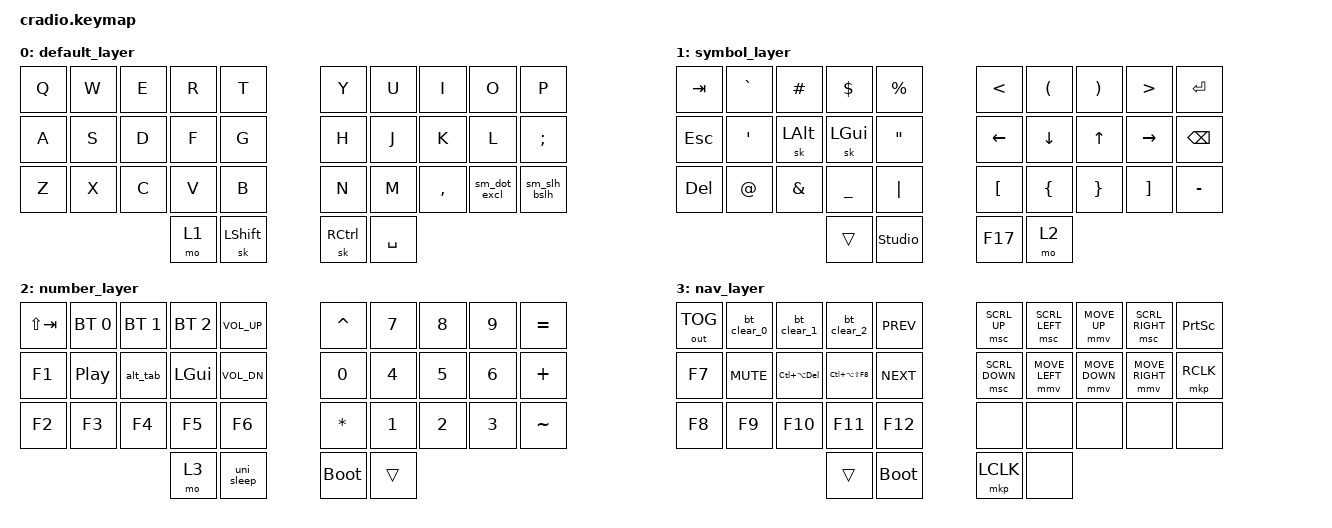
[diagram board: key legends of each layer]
/*

    Configuration created by: Németh Samu
    Based on: https://github.com/benvallack/zmk-config/blob/84ae125986b18e1e6dfb1f2a6a15777429f29520/config/cradio.keymap

*/

#define ZMK_POINTING_DEFAULT_MOVE_VAL 600 // 600
#define ZMK_POINTING_DEFAULT_SCRL_VAL 20  // 10

#include <behaviors.dtsi>
#include <input/processors.dtsi>
#include <dt-bindings/zmk/keys.h>
#include <dt-bindings/zmk/bt.h>
#include <dt-bindings/zmk/pointing.h>
#include <dt-bindings/zmk/outputs.h>

/*

    Ordering of switches on the left side.
    The input gpio numbers have to be in this order.

        0   1   2   3   4     21  20  19  18  17    
        5   6   7   8   9     26  25  24  23  22    
        10  11  12  13  14    31  30  29  28  27    
                    15  16    33  32    

*/

// Adjusted pin arrangement.
&kscan0 {
    input-gpios
    = <&pro_micro  1 (GPIO_ACTIVE_LOW | GPIO_PULL_UP)>
    , <&pro_micro  2 (GPIO_ACTIVE_LOW | GPIO_PULL_UP)>
    , <&pro_micro 21 (GPIO_ACTIVE_LOW | GPIO_PULL_UP)>
    , <&pro_micro  3 (GPIO_ACTIVE_LOW | GPIO_PULL_UP)>
    , <&pro_micro 20 (GPIO_ACTIVE_LOW | GPIO_PULL_UP)>
    , <&pro_micro  4 (GPIO_ACTIVE_LOW | GPIO_PULL_UP)>
    , <&pro_micro 19 (GPIO_ACTIVE_LOW | GPIO_PULL_UP)>
    , <&pro_micro  5 (GPIO_ACTIVE_LOW | GPIO_PULL_UP)>
    , <&pro_micro 18 (GPIO_ACTIVE_LOW | GPIO_PULL_UP)>
    , <&pro_micro  6 (GPIO_ACTIVE_LOW | GPIO_PULL_UP)>
    , <&pro_micro 15 (GPIO_ACTIVE_LOW | GPIO_PULL_UP)>
    , <&pro_micro  7 (GPIO_ACTIVE_LOW | GPIO_PULL_UP)>
    , <&pro_micro 14 (GPIO_ACTIVE_LOW | GPIO_PULL_UP)>
    , <&pro_micro  8 (GPIO_ACTIVE_LOW | GPIO_PULL_UP)>
    , <&pro_micro 16 (GPIO_ACTIVE_LOW | GPIO_PULL_UP)>
    , <&pro_micro  9 (GPIO_ACTIVE_LOW | GPIO_PULL_UP)>
    , <&pro_micro 10 (GPIO_ACTIVE_LOW | GPIO_PULL_UP)>
    ;
};

// Mod tap tuning.
&mt {
    flavor = "tap-preferred";
    tapping_term_ms = <200>;
};

// Mouse control tuning.
&mmv {
  acceleration-exponent = <1>;          // 1
  time-to-max-speed-ms = <500>;         // 300
  delay-ms = <0>;                       // 0
};

&msc {
  acceleration-exponent = <0>;          // 0
  time-to-max-speed-ms = <300>;         // 300
  delay-ms = <0>;                       // 0
};

// Sticky key tuning
&sk {
    release-after-ms = <2000>;
};

/ {

    macros {
        bt_clear_0: bt_clear_0 {
            compatible = "zmk,behavior-macro";
            #binding-cells = <0>;
            bindings = <&bt BT_SEL 0 &bt BT_CLR>;
        };
        bt_clear_1: bt_clear_1 {
            compatible = "zmk,behavior-macro";
            #binding-cells = <0>;
            bindings = <&bt BT_SEL 1 &bt BT_CLR>;
        };
        bt_clear_2: bt_clear_2 {
            compatible = "zmk,behavior-macro";
            #binding-cells = <0>;
            bindings = <&bt BT_SEL 2 &bt BT_CLR>;
        };
        uni_sleep: universal_sleep {
            compatible = "zmk,behavior-macro";
            #binding-cells = <0>;
            wait-ms = <50>;
            tap-ms = <5>;
            bindings = <&kp C_SLEEP &kp C_SLEEP_MODE &kp LG(X) &kp U &kp S>;
        };
        alt_tab: alt_tab {
            compatible = "zmk,behavior-macro";
            #binding-cells = <0>;
            bindings =
                <&macro_press &kp LALT>,
                <&macro_tap &kp TAB>,
                <&macro_tap &sk LALT>,
                <&macro_release &kp LALT>;
        };
    };

    behaviors {
        sm_com_ques: sm_comma_question {
            compatible = "zmk,behavior-mod-morph";
            label = "sm_comma_question";
            #binding-cells = <0>;
            bindings = <&kp COMMA>, <&kp QUESTION>;
            mods = <(MOD_LSFT|MOD_RSFT)>;
        };
        sm_dot_excl: sm_dot_exclamation {
            compatible = "zmk,behavior-mod-morph";
            label = "sm_dot_exclamation";
            #binding-cells = <0>;
            bindings = <&kp DOT>, <&kp EXCLAMATION>;
            mods = <(MOD_LSFT|MOD_RSFT)>;
        };
        sm_slh_bslh: sm_slash_backslash {
            compatible = "zmk,behavior-mod-morph";
            label = "sm_slash_backslash";
            #binding-cells = <0>;
            bindings = <&kp SLASH>, <&kp BACKSLASH>;
            mods = <(MOD_LSFT|MOD_RSFT)>;
        };
    };

    combos {
        compatible = "zmk,combos";

        combo_shift_control_gui {
            timeout-ms = <50>;
            bindings = <&kp LGUI>;
            key-positions = <31 32>;
            layers = <0>;
        };
    };

    // Keymap layer definitions.
    keymap {
        compatible = "zmk,keymap";
        default_layer { // Layer 0
            bindings = <

&kp Q &kp W &kp E &kp R &kp T      &kp Y     &kp U &kp I &kp O &kp P
&kp A &kp S &kp D &kp F &kp G      &kp H     &kp J &kp K &kp L &kp SEMI
&kp Z &kp X &kp C &kp V &kp B      &kp N     &kp M &kp COMMA &sm_dot_excl &sm_slh_bslh
                  &mo 1 &sk LSHIFT &sk RCTRL &kp SPACE

            >;
        };

        symbol_layer { // Layer 1
            bindings = <

&kp TAB    &kp GRAVE   &kp HASH      &kp DLLR       &kp PRCNT      &kp LESS_THAN &kp LPAR &kp RPAR &kp GREATER_THAN &kp ENTER
&kp ESC    &kp SQT    &sk LALT      &sk LGUI       &kp DQT      &kp LEFT      &kp DOWN &kp UP   &kp RIGHT        &kp BACKSPACE
&kp DELETE &kp AT_SIGN &kp AMPERSAND &kp UNDERSCORE &kp PIPE       &kp LBKT      &kp LBRC &kp RBRC &kp RBKT         &kp MINUS
                                     &trans         &studio_unlock &kp F17       &mo 2

            >;
        };

        number_layer { // Layer 2
            bindings = <

&kp LS(TAB) &bt BT_SEL 0 &bt BT_SEL 1 &bt BT_SEL 2 &kp C_VOL_UP &kp CARET    &kp N7 &kp N8 &kp N9 &kp EQUAL
&kp F1      &kp C_PP     &alt_tab     &kp LGUI     &kp C_VOL_DN &kp N0       &kp N4 &kp N5 &kp N6 &kp PLUS
&kp F2      &kp F3       &kp F4       &kp F5       &kp F6       &kp ASTERISK &kp N1 &kp N2 &kp N3 &kp TILDE
                                      &mo 3        &uni_sleep   &bootloader  &trans

            >;
        };

        nav_layer { // Layer 3  
            bindings = <

&out OUT_TOG &bt_clear_0 &bt_clear_1     &bt_clear_2        &kp C_PREV  &msc SCRL_UP   &msc SCRL_LEFT &mmv MOVE_UP   &msc SCRL_RIGHT &kp PRINTSCREEN
&kp F7       &kp C_MUTE  &kp LC(LA(DEL)) &kp LC(LA(LS(F8))) &kp C_NEXT  &msc SCRL_DOWN &mmv MOVE_LEFT &mmv MOVE_DOWN &mmv MOVE_RIGHT &mkp RCLK
&kp F8       &kp F9      &kp F10         &kp F11            &kp F12     &none          &none          &none          &none           &none
                                         &trans             &bootloader &mkp LCLK      &none

            >;
        }; 
    };
};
